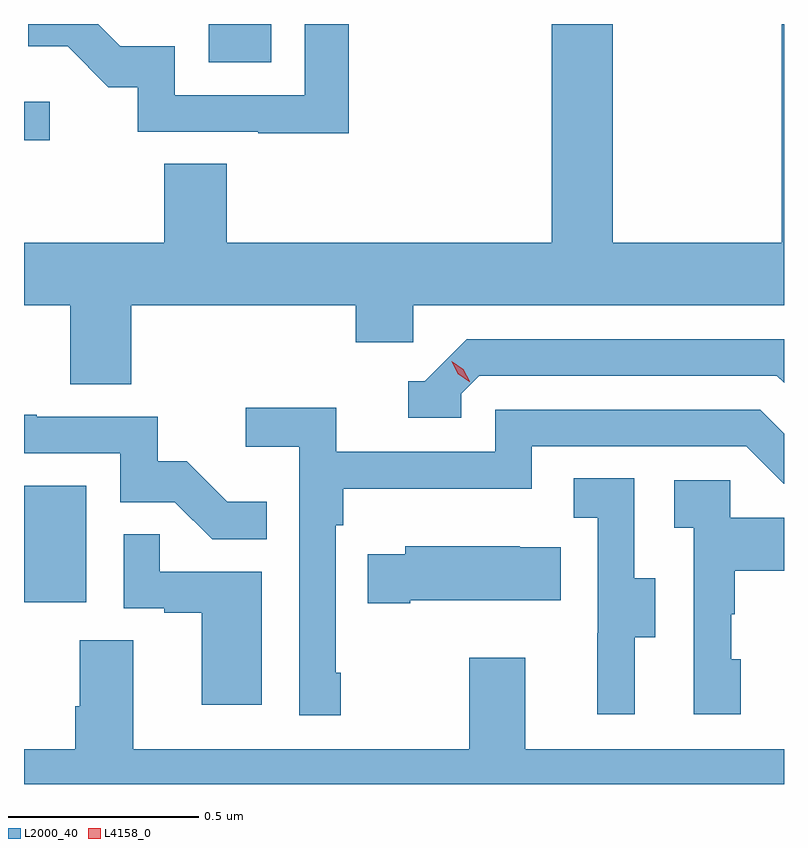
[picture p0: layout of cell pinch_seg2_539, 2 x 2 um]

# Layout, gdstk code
import gdstk
lib = gdstk.Library(unit=1e-6, precision=1e-09)
def R(c, l, rs):  # rectangles x0, y0, x1, y1
    for r in rs: c.add(gdstk.rectangle(r[:2], r[2:], *l))
def P(c, l, *ps):  # polygons
    for p in ps: c.add(gdstk.Polygon(p, *l))
L2000_40 = (2000, 40)
L4158_0 = (4158, 0)

pinch_seg2_539 = lib.new_cell('pinch_seg2_539')
R(pinch_seg2_539, L2000_40, [(952.31,598.902,952.474,599.209), (952.31,600.118,952.378,600.22), (952.796,600.324,952.96,600.424)])
P(pinch_seg2_539, L2000_40, [(952.844,600.056),(952.679,600.056),(952.679,599.848),(952.31,599.848),(952.31,599.684),(952.432,599.684),(952.432,599.476),(952.592,599.476),(952.592,599.684),(953.183,599.684),(953.183,599.586),(953.334,599.586),(953.334,599.684),(954.31,599.684),(954.31,600.424),(954.304,600.424),(954.304,599.848),(953.859,599.848),(953.859,600.424),(953.699,600.424),(953.699,599.848),(952.844,599.848)],
  [(953.165,600.424),(953.049,600.424),(953.049,600.237),(952.707,600.237),(952.707,600.366),(952.563,600.366),(952.505,600.424),(952.321,600.424),(952.321,600.365),(952.425,600.365),(952.532,600.258),(952.609,600.258),(952.609,600.141),(952.927,600.141),(952.927,600.136),(953.165,600.136)],
  [(953.46,599.451),(953.508,599.499),(954.291,599.499),(954.31,599.48),(954.31,599.595),(953.475,599.595),(953.364,599.484),(953.321,599.484),(953.321,599.388),(953.46,599.388)],
  [(953.143,598.717),(953.13,598.717),(953.13,599.105),(953.15,599.105),(953.15,599.201),(953.646,599.201),(953.646,599.313),(954.21,599.313),(954.309,599.214),(954.31,599.214),(954.31,599.346),(954.247,599.409),(953.55,599.409),(953.55,599.298),(953.132,599.298),(953.132,599.414),(952.893,599.414),(952.893,599.312),(953.034,599.312),(953.034,598.605),(953.143,598.605)],
  [(952.949,599.167),(952.845,599.167),(952.738,599.274),(952.662,599.274),(952.662,599.391),(952.343,599.391),(952.343,599.396),(952.31,599.396),(952.31,599.295),(952.563,599.295),(952.563,599.166),(952.707,599.166),(952.805,599.068),(952.949,599.068)],
  [(953.917,598.81),(953.971,598.81),(953.971,598.965),(953.916,598.965),(953.916,599.228),(953.757,599.228),(953.757,599.125),(953.82,599.125),(953.82,598.821),(953.819,598.821),(953.819,598.608),(953.917,598.608)],
  [(954.196,598.752),(954.171,598.752),(954.171,598.871),(954.181,598.871),(954.181,598.985),(954.31,598.985),(954.31,599.125),(954.168,599.125),(954.168,599.223),(954.021,599.223),(954.021,599.099),(954.072,599.099),(954.072,598.608),(954.196,598.608)],
  [(952.936,598.983),(952.667,598.983),(952.667,599.081),(952.572,599.081),(952.572,598.887),(952.679,598.887),(952.679,598.875),(952.778,598.875),(952.778,598.632),(952.936,598.632)],
  [(953.326,598.907),(953.723,598.907),(953.723,599.047),(953.615,599.047),(953.615,599.05),(953.313,599.05),(953.313,599.029),(953.215,599.029),(953.215,598.9),(953.326,598.9)],
  [(954.31,598.516),(953.629,598.516),(953.629,598.756),(953.482,598.756),(953.482,598.516),(952.597,598.516),(952.597,598.802),(952.457,598.802),(952.457,598.628),(952.445,598.628),(952.445,598.516),(952.31,598.516),(952.31,598.424),(954.31,598.424)])
P(pinch_seg2_539, L4158_0, [(953.482,599.483),(953.451,599.503),(953.435,599.535),(953.435,599.536),(953.435,599.536),(953.466,599.516),(953.483,599.484),(953.483,599.483)])

lib.write_gds('pinch_seg2_539.gds')
